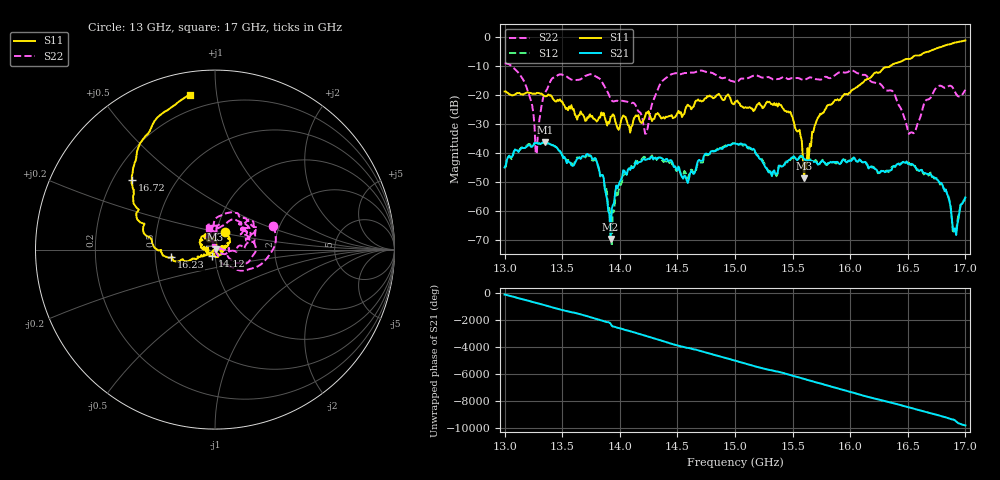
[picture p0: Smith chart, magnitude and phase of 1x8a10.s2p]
!Keysight Technologies,P9374A,MY57211807,A.19.30.04
!Date: Friday, May 08, 2026 14:10:39
!Correction: S11(C  2-Port  )
!S21(C  2-Port  )
!S12(C  2-Port  )
!S22(C  2-Port  )
!S2P File: Measurements: S11, S21, S12, S22:
# Hz S  dB  R 50
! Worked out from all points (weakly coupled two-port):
!   401 points, 13 GHz to 17 GHz, reference 50 ohm
!   highest |S21| = -36.33 dB at 13.35 GHz (marker M1); lowest = -69.8 dB at 13.92 GHz (marker M2)
!   lowest |S11| = -48.8 dB at 15.6 GHz (marker M3), VSWR 1.01, Z = 50.3 + j0.163 ohm
!   |S11| at or under -10 dB: start of sweep to 16.35 GHz
!   |S22| runs from -40.4 to -9.1 dB; largest |S21 - S12| = 0.0011
!   S11 on the Smith chart (normalised r, x): 13 GHz: 1.10, +0.22; 14.12 GHz: 0.97, -0.07; 16.23 GHz: 0.61, -0.06; 16.72 GHz: 0.28, +0.34; 17 GHz: 0.12, +0.84
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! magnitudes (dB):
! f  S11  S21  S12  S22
! 13 GHz  -18.8  -45.1  -44.9  -9.1
! 13.18 GHz  -19.4  -38.3  -37.9  -16.3
! 13.28 GHz  -19.3  -36.5  -36.5  -39.9
! 13.35 GHz  -20.4  -36.3  -36.5  -19.3
! 13.67 GHz  -26.6  -41.4  -41.6  -14.3
! 13.8 GHz  -29.2  -43.1  -43.6  -13.8
! 13.92 GHz  -27.6  -69.8  -62.5  -21.3
! 14.12 GHz  -28.3  -45.1  -44.4  -22.8
! 14.23 GHz  -26.1  -42.4  -41.5  -33.3
! 14.34 GHz  -26.9  -41.7  -41.8  -17.1
! 14.58 GHz  -24.0  -49.5  -47.7  -12.4
! 15 GHz  -22.5  -36.8  -36.8  -15.5
! 15.31 GHz  -23.0  -46.6  -46.0  -14.2
! 15.47 GHz  -26.1  -42.5  -43.0  -14.5
! 15.6 GHz  -48.8  -42.4  -42.1  -14.8
! 15.67 GHz  -32.8  -42.8  -42.9  -14.1
! 16.23 GHz  -12.2  -45.9  -46.1  -15.9
! 16.34 GHz  -10.3  -46.2  -46.4  -18.4
! 16.53 GHz  -7.3  -43.8  -44.3  -32.9
! 16.72 GHz  -4.4  -48.4  -48.3  -19.2
! 16.91 GHz  -1.9  -66.1  -67.9  -19.0
! 17 GHz  -1.2  -55.4  -55.5  -18.2
